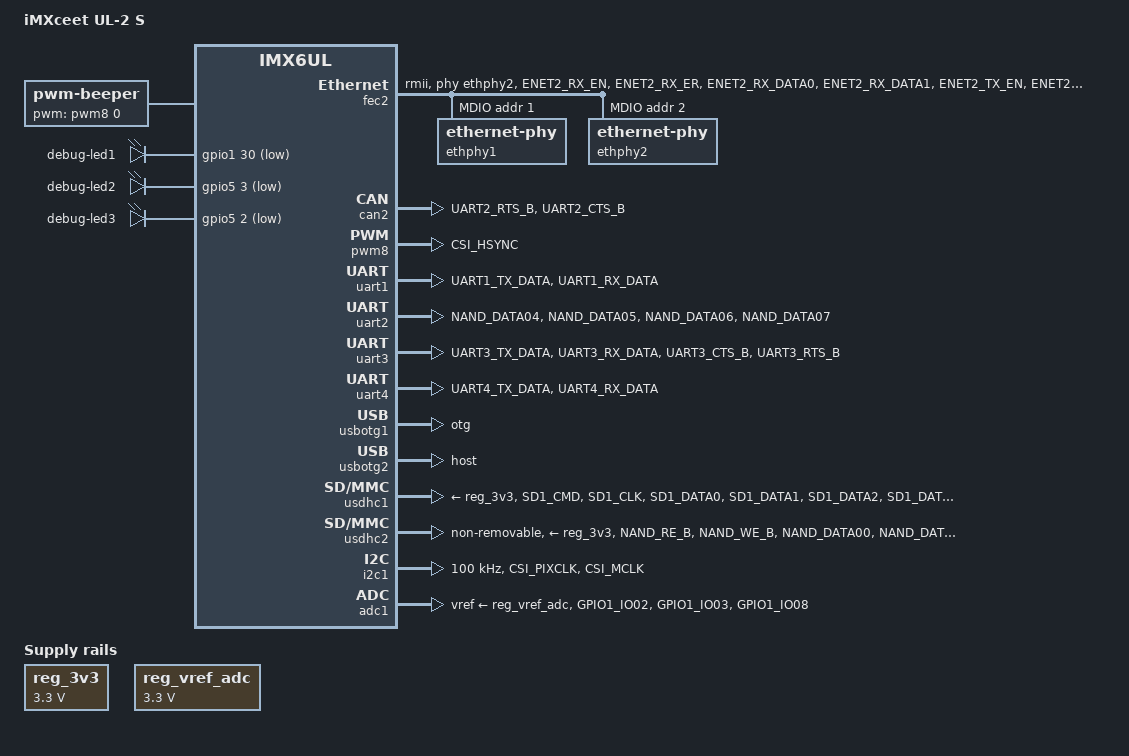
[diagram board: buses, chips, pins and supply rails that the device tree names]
/*
 * Copyright (C) 2017 exceet electronics GmbH
 *
 * This program is free software; you can redistribute it and/or modify
 * it under the terms of the GNU General Public License version 2 as
 * published by the Free Software Foundation.
 */

#include "imxceet-ul-2-som2.dts"

/ {
	model = "iMXceet UL-2 S";

	compatible = "ex,imx6ul", "fsl,imx6ul";

	exceet {
		pcb = "1 951 1461";
		baseboard = "40099111_r001";
		/* bootconfig register is addressed at:  0x021B C450 */
		/* bits   31-24     23-16     15-8      7-0     */
		/*    [ BOOT_CFG4 BOOT_CFG3 BOOT_CFG2 BOOT_CFG1 */
		/* BOOT_CFG1: boot device select: 40: SD/eSD */
		/* BOOT_CFG2: sd config         : 20: 4-bit auf SDHC1, delay 0 */
		/* BOOT_CFG3: cpu/ddr config    : 00: single DDR, 792/396 MHz CPU/DDR */
		/* BOOT_CFG4: alternativ bootdev: 49: enable, eCSPIx_SS0 chip select, 3-Byte eCSPI2 (NOR Flash)*/
		fuses_bootconfig = "0x49002040";                             
		device = "unknown";
	};

	pwm-beeper {
		compatible = "pwm-beeper";
		pwms = <&pwm8 0 5000>;
	};

	gpio-leds {
		compatible = "gpio-leds";
		pinctrl-names = "default";
		pinctrl-0 = <&pinctrl_gpio_leds>;

		led1 {
			label = "debug-led1";
			gpios = <&gpio1 30 1>;
			default-state = "off";
		};

		led2 {
			label = "debug-led2";
			gpios = <&gpio5 3 1>;
			default-state = "off";
		};

		led3 {
			label = "debug-led3";
			gpios = <&gpio5 2 1>;
			default-state = "off";
		};
	};

	regulators {
		compatible = "simple-bus";
		#address-cells = <1>;
		#size-cells = <0>;

		reg_3v3: regulator-3v3 {
			compatible = "regulator-fixed";
			regulator-name = "3v3";
			regulator-min-microvolt = <3300000>;
			regulator-max-microvolt = <3300000>;
			status = "okay";
		};

		reg_vref_adc: regulator-vref-adc {
			compatible = "regulator-fixed";
			regulator-name = "vref-adc";
			regulator-min-microvolt = <3300000>;
			regulator-max-microvolt = <3300000>;
			status = "okay";
		};
	};

};

&fec1 {
	pinctrl-0 = <&pinctrl_enet1>;
	/delete-node/ mdio;
};

&fec2 {
	pinctrl-names = "default";
	pinctrl-0 = <&pinctrl_enet2 &pinctrl_enet2_mdio>;
	phy-mode = "rmii";
	phy-handle = <&ethphy2>;
	status = "okay";

	mdio {
		#address-cells = <1>;
		#size-cells = <0>;

		ethphy1: ethernet-phy@1 {
			reg = <1>;
		};

		ethphy2: ethernet-phy@2 {
			reg = <2>;
		};
	};
};

&can2 {
	pinctrl-names = "default";
	pinctrl-0 = <&pinctrl_flexcan2>;
	status = "okay";
};

/* Beeper */
&pwm8 {
	pinctrl-names = "default";
	pinctrl-0 = <&pinctrl_pwm8>;
	status = "okay";
};

&snvs_poweroff {
	status = "okay";
};

// RS232
&uart1 {
	pinctrl-names = "default";
	pinctrl-0 = <&pinctrl_uart1>;
	status = "okay";
};

// RS485
&uart2 {
	pinctrl-names = "default";
	pinctrl-0 = <&pinctrl_uart2>;
	linux,rs485-enabled-at-boot-time;
	rs485-cts-active-high;
	fsl,uart-has-rtscts;
	status = "okay";
};

// Erweiterung
&uart3 {
	pinctrl-names = "default";
	pinctrl-0 = <&pinctrl_uart3>;
	fsl,uart-has-rtscts;
	status = "okay";
};

// DEBUG-UART
&uart4 {
	pinctrl-names = "default";
	pinctrl-0 = <&pinctrl_uart4>;
	status = "okay";
};

&usbotg1 {
	dr_mode = "otg";
	status = "okay";
};

&usbotg2 {
	dr_mode = "host";
	disable-over-current;
	status = "okay";
};

&usdhc1 {
	pinctrl-names = "default";
	pinctrl-0 = <&pinctrl_usdhc1>;
	cd-gpios = <&gpio1 19 GPIO_ACTIVE_LOW>;
	keep-power-in-suspend;
	enable-sdio-wakeup;
	vmmc-supply = <&reg_3v3>;
	voltage-ranges = <3300 3300>;
	no-1-8-v;
	status = "okay";
};

&usdhc2 {
	pinctrl-names = "default", "state_100mhz", "state_200mhz";
	pinctrl-0 = <&pinctrl_usdhc2>;
	pinctrl-1 = <&pinctrl_usdhc2_100mhz>;
	pinctrl-2 = <&pinctrl_usdhc2_200mhz>;
	tuning-step = <2>;
	non-removable;
	keep-power-in-suspend;
	enable-sdio-wakeup;
	vmmc-supply = <&reg_3v3>;
	voltage-ranges = <3300 3300>;
	no-1-8-v;
	status = "okay";
};

// Erweiterung
&i2c1 {
	clock-frequency = <100000>;
	pinctrl-names = "default";
	pinctrl-0 = <&pinctrl_i2c1>;
	status = "okay";
};

&adc1 {
	pinctrl-names = "default";
	pinctrl-0 = <&pinctrl_adc1>;
	num-channels = <3>;
	vref-supply = <&reg_vref_adc>;
	status = "okay";
};

&wdog1 {
	pinctrl-names = "default";
	pinctrl-0 = <&pinctrl_wdog>;
	fsl,ext-reset-output;
};

&iomuxc {
	pinctrl_wdog: wdoggrp {
		fsl,pins = <
			MX6UL_PAD_GPIO1_IO09__WDOG1_WDOG_ANY	0x30b0
		>;
	};

	pinctrl_gpio_export: gpio_export {
		fsl,pins = <
			MX6UL_PAD_SNVS_TAMPER5__GPIO5_IO05	0x1b0b0 /* DOUT1 */
			MX6UL_PAD_SNVS_TAMPER4__GPIO5_IO04	0x1b0b0 /* DIN1 */
			MX6UL_PAD_SNVS_TAMPER1__GPIO5_IO01	0x1b0b0 /* DOUT2 */
			MX6UL_PAD_SNVS_TAMPER0__GPIO5_IO00	0x1b0b0 /* DIN2 */
		>;
	};

	pinctrl_gpio_leds: gpio_leds {
		fsl,pins = <
			MX6UL_PAD_UART5_TX_DATA__GPIO1_IO30	0x1b0b0	/* LED H14 */
			MX6UL_PAD_SNVS_TAMPER3__GPIO5_IO03	0x1b0b0	/* LED H15 */
			MX6UL_PAD_SNVS_TAMPER2__GPIO5_IO02	0x1b0b0	/* LED H16 */
		>;
	};

	pinctrl_enet2: enet2grp {
		fsl,pins = <
			MX6UL_PAD_ENET2_RX_EN__ENET2_RX_EN	0x1b0b0
			MX6UL_PAD_ENET2_RX_ER__ENET2_RX_ER	0x1b0b0
			MX6UL_PAD_ENET2_RX_DATA0__ENET2_RDATA00	0x1b0b0
			MX6UL_PAD_ENET2_RX_DATA1__ENET2_RDATA01	0x1b0b0
			MX6UL_PAD_ENET2_TX_EN__ENET2_TX_EN	0x1b0b0
			MX6UL_PAD_ENET2_TX_DATA0__ENET2_TDATA00	0x1b0b0
			MX6UL_PAD_ENET2_TX_DATA1__ENET2_TDATA01	0x1b0b0
			MX6UL_PAD_ENET2_TX_CLK__ENET2_REF_CLK2	0x4001b031
		>;
	};

	pinctrl_enet2_mdio: enet2mdiogrp {
		fsl,pins = <
			MX6UL_PAD_GPIO1_IO07__ENET2_MDC         0x1b0b0
			MX6UL_PAD_GPIO1_IO06__ENET2_MDIO        0x1b0b0
		>;
	};

	pinctrl_flexcan2: flexcan2grp{
		fsl,pins = <
			MX6UL_PAD_UART2_RTS_B__FLEXCAN2_RX	0x1b020
			MX6UL_PAD_UART2_CTS_B__FLEXCAN2_TX	0x1b020
		>;
	};

	pinctrl_pwm8: pwm8grp {
		fsl,pins = <
			MX6UL_PAD_CSI_HSYNC__PWM8_OUT		0x110b0
		>;
	};

	pinctrl_uart1: uart1grp {
		fsl,pins = <
			MX6UL_PAD_UART1_TX_DATA__UART1_DCE_TX	0x1b0b1
			MX6UL_PAD_UART1_RX_DATA__UART1_DCE_RX	0x1b0b1
		>;
	};

	pinctrl_uart2: uart2grp {
		fsl,pins = <
			MX6UL_PAD_NAND_DATA04__UART2_DCE_TX	0x1b0b1
			MX6UL_PAD_NAND_DATA05__UART2_DCE_RX	0x1b0b1
			MX6UL_PAD_NAND_DATA06__UART2_DCE_CTS	0x1b0b1
			MX6UL_PAD_NAND_DATA07__UART2_DCE_RTS	0x1b0b1
		>;
	};

	pinctrl_uart3: uart3grp {
		fsl,pins = <
			MX6UL_PAD_UART3_TX_DATA__UART3_DCE_TX	0x1b0b1
			MX6UL_PAD_UART3_RX_DATA__UART3_DCE_RX	0x1b0b1
			MX6UL_PAD_UART3_CTS_B__UART3_DCE_CTS	0x1b0b1
			MX6UL_PAD_UART3_RTS_B__UART3_DCE_RTS	0x1b0b1
		>;
	};

	pinctrl_uart4: uart4grp {
		fsl,pins = <
			MX6UL_PAD_UART4_TX_DATA__UART4_DCE_TX	0x1b0b1
			MX6UL_PAD_UART4_RX_DATA__UART4_DCE_RX	0x1b0b1
		>;
	};

	pinctrl_usdhc1: usdhc1grp {
		fsl,pins = <
			MX6UL_PAD_SD1_CMD__USDHC1_CMD		0x17059
			MX6UL_PAD_SD1_CLK__USDHC1_CLK		0x10059
			MX6UL_PAD_SD1_DATA0__USDHC1_DATA0	0x17059
			MX6UL_PAD_SD1_DATA1__USDHC1_DATA1	0x17059
			MX6UL_PAD_SD1_DATA2__USDHC1_DATA2	0x17059
			MX6UL_PAD_SD1_DATA3__USDHC1_DATA3	0x17059
			MX6UL_PAD_UART1_RTS_B__GPIO1_IO19	0x100b1	/* SD1_CD */
		>;
	};

	pinctrl_usdhc2: usdhc2grp {
		fsl,pins = <
			MX6UL_PAD_NAND_RE_B__USDHC2_CLK		0x10059
			MX6UL_PAD_NAND_WE_B__USDHC2_CMD		0x17059
			MX6UL_PAD_NAND_DATA00__USDHC2_DATA0	0x17059
			MX6UL_PAD_NAND_DATA01__USDHC2_DATA1	0x17059
			MX6UL_PAD_NAND_DATA02__USDHC2_DATA2	0x17059
			MX6UL_PAD_NAND_DATA03__USDHC2_DATA3	0x17059
		>;
	};

	pinctrl_usdhc2_100mhz: usdhc2grp100mhz {
		fsl,pins = <
			MX6UL_PAD_NAND_RE_B__USDHC2_CLK		0x100b9
			MX6UL_PAD_NAND_WE_B__USDHC2_CMD		0x170b9
			MX6UL_PAD_NAND_DATA00__USDHC2_DATA0	0x170b9
			MX6UL_PAD_NAND_DATA01__USDHC2_DATA1	0x170b9
			MX6UL_PAD_NAND_DATA02__USDHC2_DATA2	0x170b9
			MX6UL_PAD_NAND_DATA03__USDHC2_DATA3	0x170b9
		>;
	};

	pinctrl_usdhc2_200mhz: usdhc2grp200mhz {
		fsl,pins = <
			MX6UL_PAD_NAND_RE_B__USDHC2_CLK		0x100f9
			MX6UL_PAD_NAND_WE_B__USDHC2_CMD		0x170f9
			MX6UL_PAD_NAND_DATA00__USDHC2_DATA0	0x170f9
			MX6UL_PAD_NAND_DATA01__USDHC2_DATA1	0x170f9
			MX6UL_PAD_NAND_DATA02__USDHC2_DATA2	0x170f9
			MX6UL_PAD_NAND_DATA03__USDHC2_DATA3	0x170f9
		>;
	};

	pinctrl_i2c1: i2c1grp {
		fsl,pins = <
			MX6UL_PAD_CSI_PIXCLK__I2C1_SCL		0x4001b8b0
			MX6UL_PAD_CSI_MCLK__I2C1_SDA		0x4001b8b0
		>;
	};

	pinctrl_adc1: adc1grp {
		fsl,pins = <
			MX6UL_PAD_GPIO1_IO02__GPIO1_IO02	0xb0
			MX6UL_PAD_GPIO1_IO03__GPIO1_IO03	0xb0
			MX6UL_PAD_GPIO1_IO08__GPIO1_IO08	0xb0
		>;
	};
};
